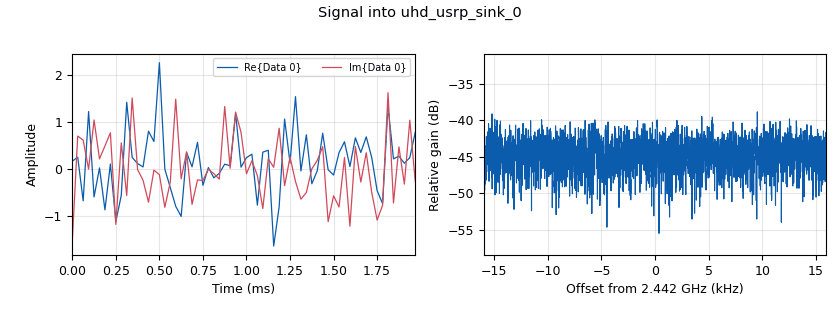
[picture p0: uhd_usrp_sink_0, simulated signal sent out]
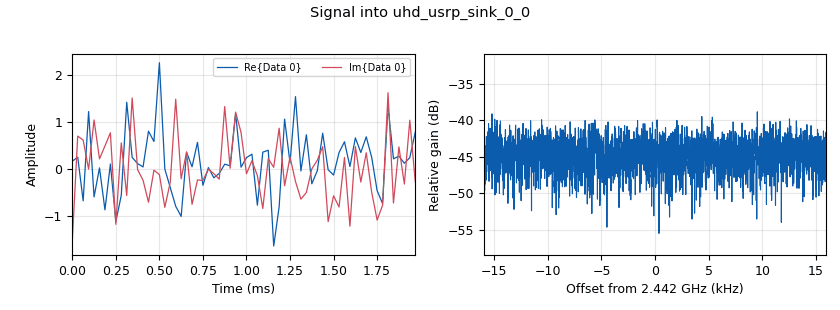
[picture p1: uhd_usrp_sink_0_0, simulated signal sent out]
<?xml version='1.0' encoding='utf-8'?>
<?grc format='1' created='3.7.13'?>
<flow_graph>
<block>
<key>options</key>
<param><key>id</key><value>top_block</value></param>
<param><key>generate_options</key><value>wx_gui</value></param>
<param><key>title</key><value>Software Defined Radio for Wi-Fi Jamming</value></param>
</block>
<block>
<key>variable_text_box</key>
<param><key>id</key><value>freq</value></param>
<param><key>converver</key><value>float_converter</value></param>
<param><key>value</key><value>2442000000</value></param>
<param><key>formatter</key><value>None</value></param>
<param><key>label</key><value>Frequencia</value></param>
</block>
<block>
<key>variable_text_box</key>
<param><key>id</key><value>freq_0</value></param>
<param><key>converver</key><value>float_converter</value></param>
<param><key>value</key><value>2442000000</value></param>
<param><key>formatter</key><value>None</value></param>
<param><key>label</key><value>Frequencia</value></param>
</block>
<block>
<key>variable_slider</key>
<param><key>id</key><value>gain</value></param>
<param><key>converver</key><value>float_converter</value></param>
<param><key>value</key><value>0</value></param>
<param><key>label</key><value>Gain</value></param>
<param><key>max</key><value>90</value></param>
<param><key>min</key><value>0</value></param>
<param><key>num_steps</key><value>100</value></param>
<param><key>style</key><value>wx.SL_HORIZONTAL</value></param>
</block>
<block>
<key>variable_slider</key>
<param><key>id</key><value>gain_0</value></param>
<param><key>converver</key><value>float_converter</value></param>
<param><key>value</key><value>0</value></param>
<param><key>label</key><value>Gain</value></param>
<param><key>max</key><value>90</value></param>
<param><key>min</key><value>0</value></param>
<param><key>num_steps</key><value>100</value></param>
<param><key>style</key><value>wx.SL_HORIZONTAL</value></param>
</block>
<block>
<key>variable</key>
<param><key>id</key><value>samp_rate</value></param>
<param><key>value</key><value>250000</value></param>
</block>
<block>
<key>variable_slider</key>
<param><key>id</key><value>sample_rate_1</value></param>
<param><key>converver</key><value>float_converter</value></param>
<param><key>value</key><value>32000</value></param>
<param><key>label</key><value>Sample Rate</value></param>
<param><key>max</key><value>20000000</value></param>
<param><key>min</key><value>0</value></param>
<param><key>num_steps</key><value>100</value></param>
<param><key>style</key><value>wx.SL_HORIZONTAL</value></param>
</block>
<block>
<key>variable_slider</key>
<param><key>id</key><value>sample_rate_1_0</value></param>
<param><key>converver</key><value>float_converter</value></param>
<param><key>value</key><value>32000</value></param>
<param><key>label</key><value>Sample Rate</value></param>
<param><key>max</key><value>20000000</value></param>
<param><key>min</key><value>0</value></param>
<param><key>num_steps</key><value>100</value></param>
<param><key>style</key><value>wx.SL_HORIZONTAL</value></param>
</block>
<block>
<key>analog_fastnoise_source_x</key>
<param><key>id</key><value>analog_fastnoise_source_x_0</value></param>
<param><key>amp</key><value>1</value></param>
<param><key>noise_type</key><value>analog.GR_GAUSSIAN</value></param>
<param><key>type</key><value>complex</value></param>
<param><key>seed</key><value>0</value></param>
<param><key>samples</key><value>8192</value></param>
</block>
<block>
<key>analog_fastnoise_source_x</key>
<param><key>id</key><value>analog_fastnoise_source_x_0_0</value></param>
<param><key>amp</key><value>1</value></param>
<param><key>noise_type</key><value>analog.GR_GAUSSIAN</value></param>
<param><key>type</key><value>complex</value></param>
<param><key>seed</key><value>0</value></param>
<param><key>samples</key><value>8192</value></param>
</block>
<block>
<key>uhd_usrp_sink</key>
<param><key>id</key><value>uhd_usrp_sink_0</value></param>
<param><key>ant0</key><value>TX/RX</value></param>
<param><key>center_freq0</key><value>freq</value></param>
<param><key>norm_gain0</key><value>False</value></param>
<param><key>gain0</key><value>gain</value></param>
<param><key>clock_rate</key><value>30.72e6</value></param>
<param><key>dev_addr</key><value>"serial=F5EAE1"</value></param>
<param><key>dev_args</key><value>""</value></param>
<param><key>type</key><value>fc32</value></param>
<param><key>samp_rate</key><value>sample_rate_1</value></param>
<param><key>hide_cmd_port</key><value>False</value></param>
<param><key>hide_lo_controls</key><value>True</value></param>
<param><key>sync</key><value></value></param>
<param><key>len_tag_name</key><value></value></param>
</block>
<block>
<key>uhd_usrp_sink</key>
<param><key>id</key><value>uhd_usrp_sink_0_0</value></param>
<param><key>ant0</key><value>TX/RX</value></param>
<param><key>center_freq0</key><value>freq</value></param>
<param><key>norm_gain0</key><value>False</value></param>
<param><key>gain0</key><value>gain</value></param>
<param><key>clock_rate</key><value>30.72e6</value></param>
<param><key>dev_addr</key><value>"serial=F5EAC0"</value></param>
<param><key>dev_args</key><value>""</value></param>
<param><key>type</key><value>fc32</value></param>
<param><key>samp_rate</key><value>sample_rate_1</value></param>
<param><key>hide_cmd_port</key><value>False</value></param>
<param><key>hide_lo_controls</key><value>True</value></param>
<param><key>sync</key><value></value></param>
<param><key>len_tag_name</key><value></value></param>
</block>
<connection><source_block_id>analog_fastnoise_source_x_0</source_block_id><sink_block_id>uhd_usrp_sink_0</sink_block_id><source_key>0</source_key><sink_key>0</sink_key></connection>
<connection><source_block_id>analog_fastnoise_source_x_0_0</source_block_id><sink_block_id>uhd_usrp_sink_0_0</sink_block_id><source_key>0</source_key><sink_key>0</sink_key></connection>
</flow_graph>
